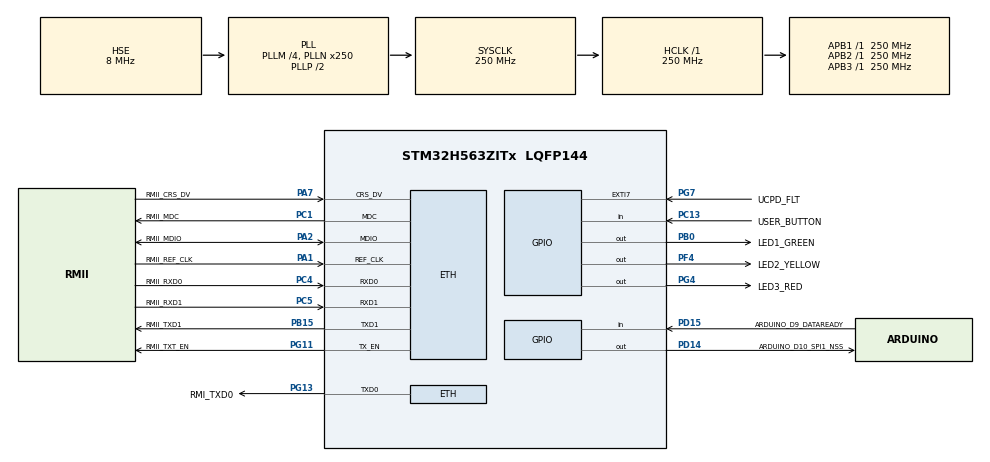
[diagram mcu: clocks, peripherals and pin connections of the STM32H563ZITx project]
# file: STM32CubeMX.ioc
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CORTEX_M33_NS.userName=CORTEX_M33
ETH.MediaInterface=HAL_ETH_RMII_MODE
Mcu.Family=STM32H5
Mcu.Name=STM32H563ZITx
Mcu.Package=LQFP144
NVIC.ETH_IRQn=true\:8\:0\:true\:false\:true\:true\:true\:true
NVIC.ETH_WKUP_IRQn=true\:8\:0\:true\:false\:true\:true\:true\:true
NVIC.PriorityGroup=NVIC_PRIORITYGROUP_4
PA1.GPIO_Label=RMII_REF_CLK
PA1.GPIO_Mode=GPIO_MODE_AF_PP
PA1.GPIO_PuPd=GPIO_NOPULL
PA1.GPIO_Speed=GPIO_SPEED_FREQ_LOW
PA1.GPIO_Speed_Default_HIGH=GPIO_SPEED_FREQ_VERY_HIGH
PA1.Mode=RMII
PA1.Signal=ETH_REF_CLK
PA13(JTMS/SWDIO).GPIO_Label=SWDIO
PA13(JTMS/SWDIO).Mode=Trace_Synchro_4bits_JTAG
PA13(JTMS/SWDIO).Signal=DEBUG_JTMS-SWDIO
PA14(JTCK/SWCLK).GPIO_Label=SWCLK
PA14(JTCK/SWCLK).Mode=Trace_Synchro_4bits_JTAG
PA14(JTCK/SWCLK).Signal=DEBUG_JTCK-SWCLK
PA15(JTDI).GPIO_Label=T_JTDI
PA15(JTDI).Mode=Trace_Synchro_4bits_JTAG
PA15(JTDI).Signal=DEBUG_JTDI
PA2.GPIO_Label=RMII_MDIO
PA2.GPIO_Mode=GPIO_MODE_AF_PP
PA2.GPIO_PuPd=GPIO_NOPULL
PA2.GPIO_Speed=GPIO_SPEED_FREQ_LOW
PA2.GPIO_Speed_Default_HIGH=GPIO_SPEED_FREQ_VERY_HIGH
PA2.Mode=RMII
PA2.Signal=ETH_MDIO
PA7.GPIO_Label=RMII_CRS_DV
PA7.GPIO_Mode=GPIO_MODE_AF_PP
PA7.GPIO_PuPd=GPIO_NOPULL
PA7.GPIO_Speed=GPIO_SPEED_FREQ_LOW
PA7.GPIO_Speed_Default_HIGH=GPIO_SPEED_FREQ_VERY_HIGH
PA7.Mode=RMII
PA7.Signal=ETH_CRS_DV
PB0.GPIO_Label=LED1_GREEN
PB0.Signal=GPIO_Output
PB15.GPIO_Label=RMII_TXD1
PB15.GPIO_Mode=GPIO_MODE_AF_PP
PB15.GPIO_PuPd=GPIO_NOPULL
PB15.GPIO_Speed=GPIO_SPEED_FREQ_LOW
PB15.GPIO_Speed_Default_HIGH=GPIO_SPEED_FREQ_VERY_HIGH
PB15.Mode=RMII
PB15.Signal=ETH_TXD1
PB3(JTDO/TRACESWO).GPIO_Label=SWO
PB3(JTDO/TRACESWO).Mode=Trace_Synchro_4bits_JTAG
PB3(JTDO/TRACESWO).Signal=DEBUG_JTDO-SWO
PC1.GPIO_Label=RMII_MDC
PC1.GPIO_Mode=GPIO_MODE_AF_PP
PC1.GPIO_PuPd=GPIO_NOPULL
PC1.GPIO_Speed=GPIO_SPEED_FREQ_LOW
PC1.GPIO_Speed_Default_HIGH=GPIO_SPEED_FREQ_VERY_HIGH
PC1.Mode=RMII
PC1.Signal=ETH_MDC
PC13.GPIO_Label=USER_BUTTON
PC13.Signal=GPIO_Input
PC14-OSC32_IN(OSC32_IN).Mode=LSE-External-Oscillator
PC14-OSC32_IN(OSC32_IN).Signal=RCC_OSC32_IN
PC15-OSC32_OUT(OSC32_OUT).Mode=LSE-External-Oscillator
PC15-OSC32_OUT(OSC32_OUT).Signal=RCC_OSC32_OUT
PC4.GPIO_Label=RMII_RXD0
PC4.GPIO_Mode=GPIO_MODE_AF_PP
PC4.GPIO_PuPd=GPIO_NOPULL
PC4.GPIO_Speed=GPIO_SPEED_FREQ_LOW
PC4.GPIO_Speed_Default_HIGH=GPIO_SPEED_FREQ_VERY_HIGH
PC4.Mode=RMII
PC4.Signal=ETH_RXD0
PC5.GPIO_Label=RMII_RXD1
PC5.GPIO_Mode=GPIO_MODE_AF_PP
PC5.GPIO_PuPd=GPIO_NOPULL
PC5.GPIO_Speed=GPIO_SPEED_FREQ_LOW
PC5.GPIO_Speed_Default_HIGH=GPIO_SPEED_FREQ_VERY_HIGH
PC5.Mode=RMII
PC5.Signal=ETH_RXD1
PD14.GPIO_Label=ARDUINO_D10_SPI1_NSS
PD14.GPIO_Speed=GPIO_SPEED_FREQ_HIGH
PD14.PinState=GPIO_PIN_SET
PD14.Signal=GPIO_Output
PD15.GPIO_Label=ARDUINO_D9_DATAREADY
PD15.Signal=GPIO_Input
PE2.GPIO_Label=TRACE_CK
PE2.Mode=Trace_Synchro_4bits_JTAG
PE2.Signal=DEBUG_TRACECLK
PE3.GPIO_Label=TRACE_D0
PE3.Mode=Trace_Synchro_4bits_JTAG
PE3.Signal=DEBUG_TRACED0
PE4.GPIO_Label=TRACE_D1
PE4.Mode=Trace_Synchro_4bits_JTAG
PE4.Signal=DEBUG_TRACED1
PE5.GPIO_Label=TRACE_D2
PE5.Mode=Trace_Synchro_4bits_JTAG
PE5.Signal=DEBUG_TRACED2
PE6.GPIO_Label=TRACE_D3
PE6.Mode=Trace_Synchro_4bits_JTAG
PE6.Signal=DEBUG_TRACED3
PF4.GPIO_Label=LED2_YELLOW
PF4.Signal=GPIO_Output
PG11.GPIO_Label=RMII_TXT_EN
PG11.GPIO_Mode=GPIO_MODE_AF_PP
PG11.GPIO_PuPd=GPIO_NOPULL
PG11.GPIO_Speed=GPIO_SPEED_FREQ_LOW
PG11.GPIO_Speed_Default_HIGH=GPIO_SPEED_FREQ_VERY_HIGH
PG11.Mode=RMII
PG11.Signal=ETH_TX_EN
PG13.GPIO_Label=RMI_TXD0
PG13.GPIO_Mode=GPIO_MODE_AF_PP
PG13.GPIO_PuPd=GPIO_NOPULL
PG13.GPIO_Speed=GPIO_SPEED_FREQ_LOW
PG13.GPIO_Speed_Default_HIGH=GPIO_SPEED_FREQ_VERY_HIGH
PG13.Mode=RMII
PG13.Signal=ETH_TXD0
PG4.GPIO_Label=LED3_RED
PG4.Signal=GPIO_Output
PG7.GPIO_Label=UCPD_FLT
PG7.Signal=GPXTI7
PH0-OSC_IN(PH0).Mode=HSE-DIG-External-Clock-Source
PH0-OSC_IN(PH0).Signal=RCC_OSC_IN
ProjectManager.HeapSize=0x0
ProjectManager.StackSize=0x400
ProjectManager.TargetToolchain=MDK-ARM V5.37
RCC.ADCFreq_Value=250000000
RCC.AHBFreq_Value=250000000
RCC.APB1Freq_Value=250000000
RCC.APB1TimFreq_Value=250000000
RCC.APB2Freq_Value=250000000
RCC.APB2TimFreq_Value=250000000
RCC.APB3Freq_Value=250000000
RCC.CSI_VALUE=4000000
RCC.CortexFreq_Value=250000000
RCC.EPOD_VALUE=8000000
RCC.HCLKFreq_Value=250000000
RCC.HSE_VALUE=8000000
RCC.HSI48_VALUE=48000000
RCC.HSIDiv=RCC_HSI_DIV1
RCC.HSI_VALUE=64000000
RCC.LSIRC_VALUE=32000
RCC.PLLM=4
RCC.PLLN=250
RCC.PLLSourceVirtual=RCC_PLL1_SOURCE_HSE
RCC.SYSCLKFreq_VALUE=250000000
RCC.SYSCLKSource=RCC_SYSCLKSOURCE_PLLCLK
RCC.USBFreq_Value=48000000
RCC.VCOOutputFreq_Value=500000000
VP_ICACHE_VS_ICACHE.Mode=DefaultMode
VP_IWDG_VS_IWDG.Mode=IWDG_Activate
VP_PWR_VS_SECSignals.Mode=Security/Privilege
board=NUCLEO-H563ZI

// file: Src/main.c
/* USER CODE BEGIN Header */
/**
  ******************************************************************************
  * @file           : main.c
  * @brief          : Main program body
  ******************************************************************************
  * @attention
  *
  * Copyright (c) 2025 STMicroelectronics.
  * All rights reserved.
  *
  * This software is licensed under terms that can be found in the LICENSE file
  * in the root directory of this software component.
  * If no LICENSE file comes with this software, it is provided AS-IS.
  *
  ******************************************************************************
  */
/* USER CODE END Header */
#include "main.h"
#include "string.h"

/* USER CODE BEGIN Includes */

#include "RTE_Components.h"
#include CMSIS_device_header
#include "cmsis_os2.h"

extern int app_main (void);

/* USER CODE END Includes */

ETH_TxPacketConfigTypeDef TxConfig;
ETH_DMADescTypeDef  DMARxDscrTab[ETH_RX_DESC_CNT]; /* Ethernet Rx DMA Descriptors */
ETH_DMADescTypeDef  DMATxDscrTab[ETH_TX_DESC_CNT]; /* Ethernet Tx DMA Descriptors */

ETH_HandleTypeDef heth;

IWDG_HandleTypeDef hiwdg;

void SystemClock_Config(void);
static void MX_GPIO_Init(void);
static void MX_ICACHE_Init(void);
static void MX_ETH_Init(void);
static void MX_IWDG_Init(void);

/* USER CODE BEGIN 0 */

/**
  * Override default HAL_GetTick function
  */
uint32_t HAL_GetTick (void) {
  static uint32_t ticks __attribute__((section("ram_shared"))) = 0U;
         uint32_t ret;
         uint32_t i;

  if (osKernelGetState () == osKernelRunning) {
    ret = (uint32_t)osKernelGetTickCount ();
  } else {

    /* If Kernel is not running wait approximately 1 ms then increment
       and return auxiliary tick counter value */
    for (i = (SystemCoreClock >> 14U); i > 0U; i--) {
      __NOP(); __NOP(); __NOP(); __NOP(); __NOP(); __NOP();
      __NOP(); __NOP(); __NOP(); __NOP(); __NOP(); __NOP();
    }
    ticks += 1U;
    ret = ticks;
  }

  return ret;
}

/**
  * Override default HAL_InitTick function
  */
HAL_StatusTypeDef HAL_InitTick(uint32_t TickPriority) {

  UNUSED(TickPriority);

  return HAL_OK;
}

/* USER CODE END 0 */

int main(void)
{

  /* MCU Configuration--------------------------------------------------------*/

  /* Reset of all peripherals, Initializes the Flash interface and the Systick. */
  HAL_Init();

  /* Configure the system clock */
  SystemClock_Config();

  /* USER CODE BEGIN SysInit */
  SystemCoreClockUpdate();

  /* USER CODE END SysInit */

  /* Initialize all configured peripherals */
  MX_GPIO_Init();
  MX_ICACHE_Init();
  MX_ETH_Init();
  /* USER CODE BEGIN 2 */

  return app_main();

  /* USER CODE END 2 */

  /* Infinite loop */
  /* USER CODE BEGIN WHILE */
//while (1)
//{
    /* USER CODE END WHILE */

    /* USER CODE BEGIN 3 */
//}
  /* USER CODE END 3 */
}

void SystemClock_Config(void)
{
  RCC_OscInitTypeDef RCC_OscInitStruct = {0};
  RCC_ClkInitTypeDef RCC_ClkInitStruct = {0};

  /** Configure the main internal regulator output voltage
  */
  __HAL_PWR_VOLTAGESCALING_CONFIG(PWR_REGULATOR_VOLTAGE_SCALE0);

  while(!__HAL_PWR_GET_FLAG(PWR_FLAG_VOSRDY)) {}

  /** Initializes the RCC Oscillators according to the specified parameters
  * in the RCC_OscInitTypeDef structure.
  */
  RCC_OscInitStruct.OscillatorType = RCC_OSCILLATORTYPE_LSI|RCC_OSCILLATORTYPE_HSE;
  RCC_OscInitStruct.HSEState = RCC_HSE_BYPASS_DIGITAL;
  RCC_OscInitStruct.LSIState = RCC_LSI_ON;
  RCC_OscInitStruct.PLL.PLLState = RCC_PLL_ON;
  RCC_OscInitStruct.PLL.PLLSource = RCC_PLL1_SOURCE_HSE;
  RCC_OscInitStruct.PLL.PLLM = 4;
  RCC_OscInitStruct.PLL.PLLN = 250;
  RCC_OscInitStruct.PLL.PLLP = 2;
  RCC_OscInitStruct.PLL.PLLQ = 2;
  RCC_OscInitStruct.PLL.PLLR = 2;
  RCC_OscInitStruct.PLL.PLLRGE = RCC_PLL1_VCIRANGE_1;
  RCC_OscInitStruct.PLL.PLLVCOSEL = RCC_PLL1_VCORANGE_WIDE;
  RCC_OscInitStruct.PLL.PLLFRACN = 0;
  if (HAL_RCC_OscConfig(&RCC_OscInitStruct) != HAL_OK)
  {
    Error_Handler();
  }

  /** Initializes the CPU, AHB and APB buses clocks
  */
  RCC_ClkInitStruct.ClockType = RCC_CLOCKTYPE_HCLK|RCC_CLOCKTYPE_SYSCLK
                              |RCC_CLOCKTYPE_PCLK1|RCC_CLOCKTYPE_PCLK2
                              |RCC_CLOCKTYPE_PCLK3;
  RCC_ClkInitStruct.SYSCLKSource = RCC_SYSCLKSOURCE_PLLCLK;
  RCC_ClkInitStruct.AHBCLKDivider = RCC_SYSCLK_DIV1;
  RCC_ClkInitStruct.APB1CLKDivider = RCC_HCLK_DIV1;
  RCC_ClkInitStruct.APB2CLKDivider = RCC_HCLK_DIV1;
  RCC_ClkInitStruct.APB3CLKDivider = RCC_HCLK_DIV1;

  if (HAL_RCC_ClockConfig(&RCC_ClkInitStruct, FLASH_LATENCY_5) != HAL_OK)
  {
    Error_Handler();
  }

  /** Configure the programming delay
  */
  __HAL_FLASH_SET_PROGRAM_DELAY(FLASH_PROGRAMMING_DELAY_2);
}

static void MX_ETH_Init(void)
{

   static uint8_t MACAddr[6];

  heth.Instance = ETH;
  MACAddr[0] = 0x00;
  MACAddr[1] = 0x80;
  MACAddr[2] = 0xE1;
  MACAddr[3] = 0x00;
  MACAddr[4] = 0x00;
  MACAddr[5] = 0x00;
  heth.Init.MACAddr = &MACAddr[0];
  heth.Init.MediaInterface = HAL_ETH_RMII_MODE;
  heth.Init.TxDesc = DMATxDscrTab;
  heth.Init.RxDesc = DMARxDscrTab;
  heth.Init.RxBuffLen = 1524;

  if (HAL_ETH_Init(&heth) != HAL_OK)
  {
    Error_Handler();
  }

  memset(&TxConfig, 0 , sizeof(ETH_TxPacketConfigTypeDef));
  TxConfig.Attributes = ETH_TX_PACKETS_FEATURES_CSUM | ETH_TX_PACKETS_FEATURES_CRCPAD;
  TxConfig.ChecksumCtrl = ETH_CHECKSUM_IPHDR_PAYLOAD_INSERT_PHDR_CALC;
  TxConfig.CRCPadCtrl = ETH_CRC_PAD_INSERT;

}

static void MX_ICACHE_Init(void)
{

  /** Enable instruction cache (default 2-ways set associative cache)
  */
  if (HAL_ICACHE_Enable() != HAL_OK)
  {
    Error_Handler();
  }

}

static void MX_IWDG_Init(void)
{

  hiwdg.Instance = IWDG;
  hiwdg.Init.Prescaler = IWDG_PRESCALER_4;
  hiwdg.Init.Window = 4095;
  hiwdg.Init.Reload = 4095;
  hiwdg.Init.EWI = 0;
  if (HAL_IWDG_Init(&hiwdg) != HAL_OK)
  {
    Error_Handler();
  }

}

static void MX_GPIO_Init(void)
{
  GPIO_InitTypeDef GPIO_InitStruct = {0};

  /* GPIO Ports Clock Enable */
  __HAL_RCC_GPIOE_CLK_ENABLE();
  __HAL_RCC_GPIOC_CLK_ENABLE();
  __HAL_RCC_GPIOF_CLK_ENABLE();
  __HAL_RCC_GPIOH_CLK_ENABLE();
  __HAL_RCC_GPIOA_CLK_ENABLE();
  __HAL_RCC_GPIOB_CLK_ENABLE();
  __HAL_RCC_GPIOD_CLK_ENABLE();
  __HAL_RCC_GPIOG_CLK_ENABLE();

  /*Configure GPIO pin Output Level */
  HAL_GPIO_WritePin(LED2_YELLOW_GPIO_Port, LED2_YELLOW_Pin, GPIO_PIN_RESET);

  /*Configure GPIO pin Output Level */
  HAL_GPIO_WritePin(LED1_GREEN_GPIO_Port, LED1_GREEN_Pin, GPIO_PIN_RESET);

  /*Configure GPIO pin Output Level */
  HAL_GPIO_WritePin(ARDUINO_D10_SPI1_NSS_GPIO_Port, ARDUINO_D10_SPI1_NSS_Pin, GPIO_PIN_SET);

  /*Configure GPIO pin Output Level */
  HAL_GPIO_WritePin(LED3_RED_GPIO_Port, LED3_RED_Pin, GPIO_PIN_RESET);

  /*Configure GPIO pin : USER_BUTTON_Pin */
  GPIO_InitStruct.Pin = USER_BUTTON_Pin;
  GPIO_InitStruct.Mode = GPIO_MODE_INPUT;
  GPIO_InitStruct.Pull = GPIO_NOPULL;
  HAL_GPIO_Init(USER_BUTTON_GPIO_Port, &GPIO_InitStruct);

  /*Configure GPIO pin : LED2_YELLOW_Pin */
  GPIO_InitStruct.Pin = LED2_YELLOW_Pin;
  GPIO_InitStruct.Mode = GPIO_MODE_OUTPUT_PP;
  GPIO_InitStruct.Pull = GPIO_NOPULL;
  GPIO_InitStruct.Speed = GPIO_SPEED_FREQ_LOW;
  HAL_GPIO_Init(LED2_YELLOW_GPIO_Port, &GPIO_InitStruct);

  /*Configure GPIO pin : LED1_GREEN_Pin */
  GPIO_InitStruct.Pin = LED1_GREEN_Pin;
  GPIO_InitStruct.Mode = GPIO_MODE_OUTPUT_PP;
  GPIO_InitStruct.Pull = GPIO_NOPULL;
  GPIO_InitStruct.Speed = GPIO_SPEED_FREQ_LOW;
  HAL_GPIO_Init(LED1_GREEN_GPIO_Port, &GPIO_InitStruct);

  /*Configure GPIO pin : ARDUINO_D10_SPI1_NSS_Pin */
  GPIO_InitStruct.Pin = ARDUINO_D10_SPI1_NSS_Pin;
  GPIO_InitStruct.Mode = GPIO_MODE_OUTPUT_PP;
  GPIO_InitStruct.Pull = GPIO_NOPULL;
  GPIO_InitStruct.Speed = GPIO_SPEED_FREQ_HIGH;
  HAL_GPIO_Init(ARDUINO_D10_SPI1_NSS_GPIO_Port, &GPIO_InitStruct);

  /*Configure GPIO pin : ARDUINO_D9_DATAREADY_Pin */
  GPIO_InitStruct.Pin = ARDUINO_D9_DATAREADY_Pin;
  GPIO_InitStruct.Mode = GPIO_MODE_INPUT;
  GPIO_InitStruct.Pull = GPIO_NOPULL;
  HAL_GPIO_Init(ARDUINO_D9_DATAREADY_GPIO_Port, &GPIO_InitStruct);

  /*Configure GPIO pin : LED3_RED_Pin */
  GPIO_InitStruct.Pin = LED3_RED_Pin;
  GPIO_InitStruct.Mode = GPIO_MODE_OUTPUT_PP;
  GPIO_InitStruct.Pull = GPIO_NOPULL;
  GPIO_InitStruct.Speed = GPIO_SPEED_FREQ_LOW;
  HAL_GPIO_Init(LED3_RED_GPIO_Port, &GPIO_InitStruct);

  /*Configure GPIO pin : UCPD_FLT_Pin */
  GPIO_InitStruct.Pin = UCPD_FLT_Pin;
  GPIO_InitStruct.Mode = GPIO_MODE_IT_RISING;
  GPIO_InitStruct.Pull = GPIO_NOPULL;
  HAL_GPIO_Init(UCPD_FLT_GPIO_Port, &GPIO_InitStruct);

}

void Error_Handler(void)
{
  __disable_irq();
  while (1)
  {
  }
}
